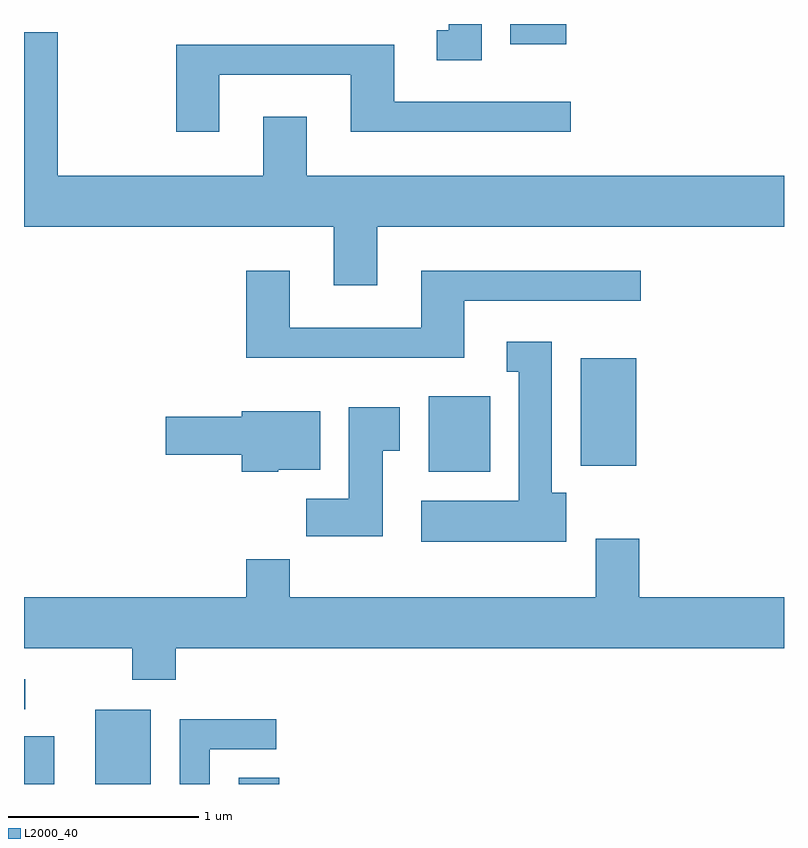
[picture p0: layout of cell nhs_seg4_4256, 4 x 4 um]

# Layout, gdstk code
import gdstk
lib = gdstk.Library(unit=1e-6, precision=1e-09)
def R(c, l, rs):  # rectangles x0, y0, x1, y1
    for r in rs: c.add(gdstk.rectangle(r[:2], r[2:], *l))
def P(c, l, *ps):  # polygons
    for p in ps: c.add(gdstk.Polygon(p, *l))
L2000_40 = (2000, 40)

nhs_seg4_4256 = lib.new_cell('nhs_seg4_4256')
R(nhs_seg4_4256, L2000_40, [(309.611,1333.982,309.769,1334.233), (309.986,1333.982,310.279,1334.374), (310.741,1333.982,310.954,1334.014), (309.611,1334.376,309.618,1334.534), (311.741,1335.626,312.064,1336.024), (312.541,1335.656,312.834,1336.224), (312.171,1337.876,312.464,1337.982)])
P(nhs_seg4_4256, L2000_40, [(312.019,1337.982),(311.846,1337.982),(311.846,1337.949),(311.783,1337.949),(311.783,1337.791),(312.019,1337.791)],
  [(311.469,1336.916),(313.611,1336.916),(313.611,1337.184),(311.099,1337.184),(311.099,1337.494),(310.871,1337.494),(310.871,1337.184),(309.789,1337.184),(309.789,1337.939),(309.611,1337.939),(309.611,1336.916),(311.241,1336.916),(311.241,1336.606),(311.469,1336.606)],
  [(310.639,1337.716),(311.331,1337.716),(311.331,1337.416),(312.488,1337.416),(312.488,1337.574),(311.559,1337.574),(311.559,1337.874),(310.411,1337.874),(310.411,1337.416),(310.639,1337.416)],
  [(311.929,1336.526),(312.858,1336.526),(312.858,1336.684),(311.701,1336.684),(311.701,1336.384),(311.009,1336.384),(311.009,1336.684),(310.781,1336.684),(310.781,1336.226),(311.929,1336.226)],
  [(312.464,1335.514),(312.389,1335.514),(312.389,1336.309),(312.153,1336.309),(312.153,1336.151),(312.216,1336.151),(312.216,1335.474),(311.701,1335.474),(311.701,1335.256),(312.464,1335.256)],
  [(311.499,1335.736),(311.589,1335.736),(311.589,1335.964),(311.321,1335.964),(311.321,1335.484),(311.096,1335.484),(311.096,1335.286),(311.499,1335.286)],
  [(310.95,1335.636),(311.169,1335.636),(311.169,1335.944),(310.756,1335.944),(310.756,1335.914),(310.356,1335.914),(310.356,1335.716),(310.756,1335.716),(310.756,1335.626),(310.95,1335.626)],
  [(310.409,1334.696),(313.611,1334.696),(313.611,1334.964),(312.849,1334.964),(312.849,1335.274),(312.621,1335.274),(312.621,1334.964),(311.009,1334.964),(311.009,1335.164),(310.781,1335.164),(310.781,1334.964),(309.611,1334.964),(309.611,1334.696),(310.181,1334.696),(310.181,1334.531),(310.409,1334.531)],
  [(310.589,1334.166),(310.938,1334.166),(310.938,1334.324),(310.431,1334.324),(310.431,1333.982),(310.589,1333.982)])

lib.write_gds('nhs_seg4_4256.gds')
